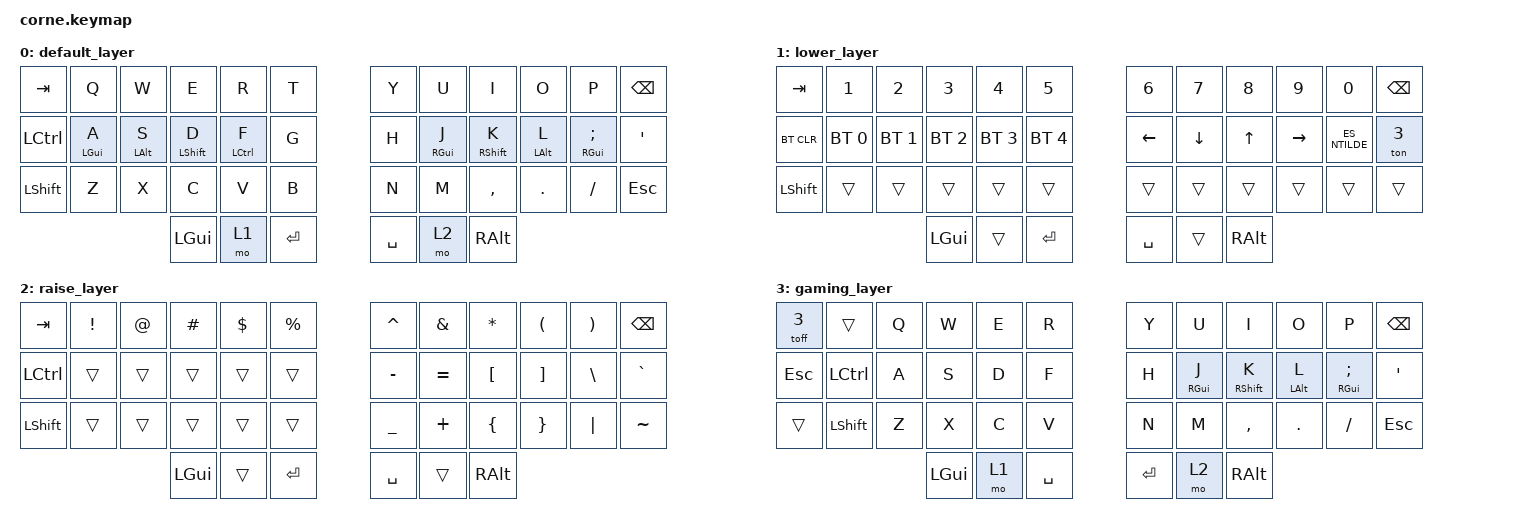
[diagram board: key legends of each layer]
/*
 * Copyright (c) 2020 The ZMK Contributors
 *
 * SPDX-License-Identifier: MIT
 */

#include <behaviors.dtsi>
#include <dt-bindings/zmk/keys.h>
#include <dt-bindings/zmk/bt.h>

#define LEFT_POSITIONS  0 1 2 3 4 5 12 13 14 15 16 17 24 25 26 27 28 29 36 37 38
#define RIGHT_POSITIONS 6 7 8 9 10 11 18 19 20 21 22 23 30 31 32 33 34 35 39 40 41
/* Key Positions
╭────────────────────────╮ ╭────────────────────────╮
│  0   1   2   3   4   5 │ │  6   7   8   9  10  11 │
│ 12  13  14  15  16  17 │ │ 18  19  20  21  22  23 │
│ 24  25  26  27  28  29 │ │ 30  31  32  33  34  35 │
╰───────────╮ 36  37  38 │ │ 39  40  41 ╭───────────╯
            ╰────────────╯ ╰────────────╯
*/

/ {
  behaviors {
		ton: toggle_layer_on_only {
      compatible = "zmk,behavior-toggle-layer";
      #binding-cells = <1>;
      display-name = "Toggle Layer On";
      toggle-mode = "on";
    };

		toff: toggle_layer_off_only {
      compatible = "zmk,behavior-toggle-layer";
      #binding-cells = <1>;
      display-name = "Toggle Layer Off";
      toggle-mode = "off";
    };

    hrml: home_row_mods_left {
      compatible = "zmk,behavior-hold-tap";
      #binding-cells = <2>; // must be <2>
      tapping-term-ms = <200>; // ms to trigger a hold
      quick-tap-ms = <150>; // double tap ms to avoid hold
      flavor = "balanced";
      hold-trigger-key-positions = < RIGHT_POSITIONS >;
      bindings =
        <&kp>, // hold behavior
        <&kp>; // tap behavior
    };

    hrmr: home_row_mods_right {
      compatible = "zmk,behavior-hold-tap";
      #binding-cells = <2>; // must be <2>
      tapping-term-ms = <200>; // ms to trigger a hold
      quick-tap-ms = <150>; // double tap ms to avoid hold
      flavor = "balanced";
      hold-trigger-key-positions = < LEFT_POSITIONS >;
      bindings =
        <&kp>, // hold behavior
        <&kp>; // tap behavior
    };
    
    lthp: layer_tap_hold_preferred {
      compatible = "zmk,behavior-hold-tap";
      #binding-cells = <2>; // must be <2>
      tapping-term-ms = <300>; // ms to trigger a hold
      quick-tap-ms = <150>; // double tap ms to avoid hold
      flavor = "hold-preferred";
      bindings = 
        <&mo>, // hold behavior
        <&kp>; // tap behavior
      };

    mthp: mod_tap_hold_preferred {
      compatible = "zmk,behavior-hold-tap";
      #binding-cells = <2>; // must be <2>
      tapping-term-ms = <300>; // ms to trigger a hold
      quick-tap-ms = <150>; // double tap ms to avoid hold
      flavor = "hold-preferred";
      bindings = 
        <&kp>, // hold behavior
        <&kp>; // tap behavior
      };

    mttp: mod_tap_tap_preferred {
      compatible = "zmk,behavior-hold-tap";
      #binding-cells = <2>; // must be <2>
      tapping-term-ms = <300>; // ms to trigger a hold
      quick-tap-ms = <150>; // double tap ms to avoid hold
      flavor = "tap-preferred";
      bindings = 
        <&kp>, // hold behavior
        <&kp>; // tap behavior
      };
    };
  };

/ {
	macros {
		ES_NTILDE: ES_NTILDE {
        compatible = "zmk,behavior-macro";
        #binding-cells = <0>;
        wait-ms = <30>;
        tap-ms = <40>;
        bindings = 
					<&macro_press   &kp LALT>,
					<&macro_tap &kp TILDE>,
					<&macro_release   &kp LALT>,
					<&macro_tap &kp N>;
    };
	};
};

/{
  keymap {
    compatible = "zmk,keymap";

      default_layer { /*
╭─────────────────────────╮ ╭─────────────────────────╮
│ TAB   Q   W   E   R   T │ │ Y   U   I   O   P  BSPC │
│ CTRL  A   S   D   F   G │ │ H   J   K   L   ;   '   │
│ SHFT  Z   X   C   V   B │ │ N   M   ,   .   /  ESC  │
╰───────────╮ GUI LWR ENT │ │ SPC RSE ALT ╭───────────╯
            ╰─────────────╯ ╰─────────────╯ */
        bindings = <
  &kp TAB &kp Q &kp W &kp E &kp R &kp T  &kp Y &kp U &kp I &kp O &kp P &kp BSPC
  &kp LCTRL &mt LGUI A &mt LALT S &mt LSHFT D &mt LCTL F &kp G   &kp H &mt RGUI J &mt RSHFT K &mt LALT L &mt RGUI SEMI &kp SQT
  &kp LSHFT &kp Z &kp X &kp C &kp V &kp B  &kp N &kp M  &kp COMMA &kp DOT &kp FSLH &kp ESC
  &kp LGUI &mo 1 &kp RET  &kp SPACE &mo 2 &kp RALT
        >;
      };
      lower_layer { /* 
╭─────────────────────────╮ ╭─────────────────────────╮
│ TAB   1   2   3   4   5 │ │ 6   7   8   9   0  BSPC │
│ BTCL BT1 BT2 BT3 BT4 BT5│ │LFT DWN  UP RGT          │
│ SHFT                    │ │                         │
╰───────────╮ GUI     ENT │ │ SPC     ALT ╭───────────╯
            ╰─────────────╯ ╰─────────────╯ */
        bindings = <
  &kp TAB &kp N1 &kp N2 &kp N3 &kp N4 &kp N5  &kp N6 &kp N7 &kp N8 &kp N9 &kp N0 &kp BSPC
  &bt BT_CLR &bt BT_SEL 0 &bt BT_SEL 1 &bt BT_SEL 2 &bt BT_SEL 3 &bt BT_SEL 4   &kp LEFT &kp DOWN &kp UP &kp RIGHT &ES_NTILDE &ton 3
  &kp LSHFT &trans &trans &trans &trans &trans &trans &trans &trans &trans &trans &trans
  &kp LGUI &trans &kp RET &kp SPACE &trans &kp RALT
        >;
      };
      raise_layer { /* 
╭─────────────────────────╮ ╭─────────────────────────╮
│ TAB   !   @   #   $   % │ │ ^   &   *   (   )  BSPC │
│ CTRL                    │ │ -   =   [   ]   \   `   │
│ SHFT                    │ │ _   +   {   }   |   ~   │
╰───────────╮ GUI     ENT │ │ SPC     ALT ╭───────────╯
            ╰─────────────╯ ╰─────────────╯ */
      bindings = <
  &kp TAB &kp EXCL &kp AT &kp HASH &kp DLLR &kp PRCNT  &kp CARET &kp AMPS  &kp ASTRK &kp LPAR &kp RPAR &kp BSPC
  &kp LCTRL &trans &trans &trans &trans &trans  &kp MINUS &kp EQUAL &kp LBKT &kp RBKT &kp BSLH &kp GRAVE
  &kp LSHFT &trans &trans &trans &trans &trans  &kp UNDER &kp PLUS &kp LBRC &kp RBRC &kp PIPE &kp TILDE
  &kp LGUI &trans &kp RET &kp SPACE &trans &kp RALT
      >;
    };
		gaming_layer { /*
╭─────────────────────────╮ ╭─────────────────────────╮
│ tof       Q   W   E   R │ │ Y   U   I   O   P  BSPC │
│ ESC CTRL  A   S   D   F │ │ H   J   K   L   ;   '   │
│     SHFT  Z   X   C   V │ │ N   M   ,   .   /  ESC  │
╰───────────╮ GUI LWR ENT │ │ SPC RSE ALT ╭───────────╯
            ╰─────────────╯ ╰─────────────╯ */
        bindings = <
  &toff 3 &trans &kp Q &kp W &kp E &kp R  &kp Y &kp U &kp I &kp O &kp P &kp BSPC
  &kp ESC &kp LCTRL &kp A &kp S &kp D &kp F   &kp H &mt RGUI J &mt RSHFT K &mt LALT L &mt RGUI SEMI &kp SQT
  &trans &kp LSHFT &kp Z &kp X &kp C &kp V  &kp N &kp M  &kp COMMA &kp DOT &kp FSLH &kp ESC
  &kp LGUI &mo 1 &kp SPACE  &kp RET &mo 2 &kp RALT
        >;
      };
  };
};
